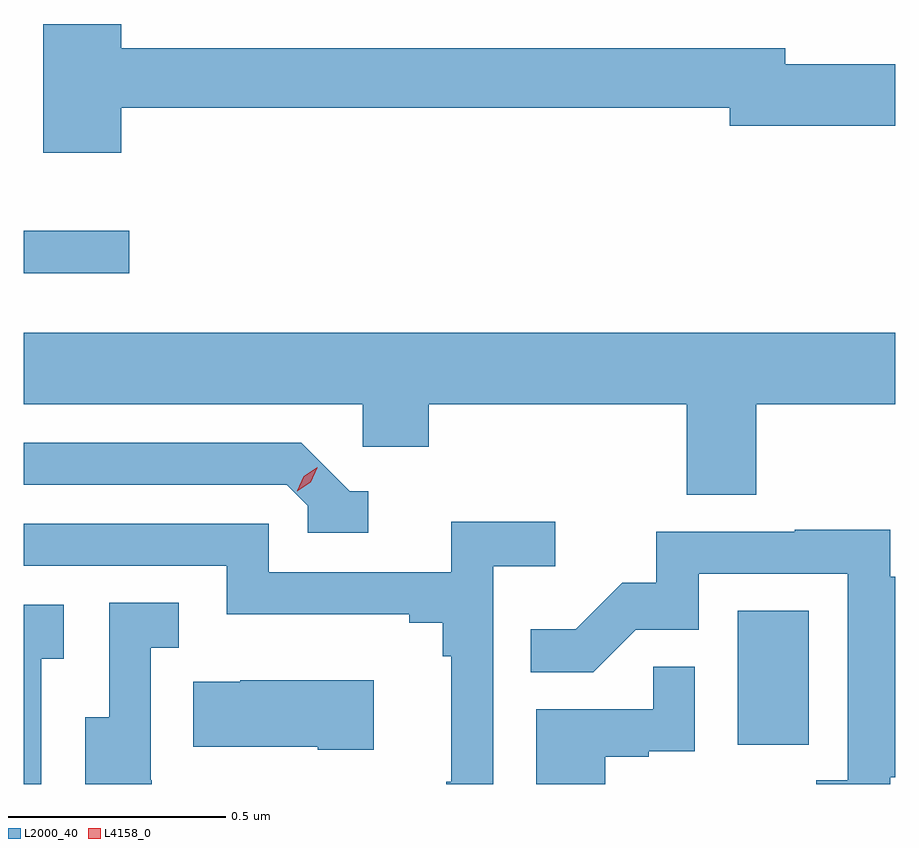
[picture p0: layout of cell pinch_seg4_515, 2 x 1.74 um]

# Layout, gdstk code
import gdstk
lib = gdstk.Library(unit=1e-6, precision=1e-09)
def R(c, l, rs):  # rectangles x0, y0, x1, y1
    for r in rs: c.add(gdstk.rectangle(r[:2], r[2:], *l))
def P(c, l, *ps):  # polygons
    for p in ps: c.add(gdstk.Polygon(p, *l))
L2000_40 = (2000, 40)
L4158_0 = (4158, 0)

pinch_seg4_515 = lib.new_cell('pinch_seg4_515')
R(pinch_seg4_515, L2000_40, [(991.646,758.742,991.81,759.049), (990.008,759.824,990.25,759.921)])
P(pinch_seg4_515, L2000_40, [(990.232,760.204),(991.628,760.204),(991.628,760.162),(992.008,760.162),(992.008,760.304),(991.756,760.304),(991.756,760.34),(990.232,760.34),(990.232,760.396),(990.053,760.396),(990.053,760.1),(990.232,760.1)],
  [(991.689,759.524),(992.008,759.524),(992.008,759.688),(990.008,759.688),(990.008,759.524),(990.786,759.524),(990.786,759.426),(990.938,759.426),(990.938,759.524),(991.529,759.524),(991.529,759.316),(991.689,759.316)],
  [(990.799,759.324),(990.756,759.324),(990.645,759.435),(990.008,759.435),(990.008,759.339),(990.612,759.339),(990.66,759.291),(990.66,759.228),(990.799,759.228)],
  [(991.086,759.152),(991.228,759.152),(991.228,759.254),(990.989,759.254),(990.989,759.138),(990.57,759.138),(990.57,759.249),(990.008,759.249),(990.008,759.153),(990.474,759.153),(990.474,759.041),(990.893,759.041),(990.893,759.022),(990.97,759.022),(990.97,758.945),(990.989,758.945),(990.989,758.657),(990.978,758.657),(990.978,758.652),(991.086,758.652)],
  [(991.997,758.668),(992.008,758.668),(992.008,759.128),(991.997,759.128),(991.997,759.236),(991.777,759.236),(991.777,759.231),(991.459,759.231),(991.459,759.114),(991.382,759.114),(991.275,759.007),(991.171,759.007),(991.171,758.908),(991.315,758.908),(991.413,759.006),(991.557,759.006),(991.557,759.135),(991.899,759.135),(991.899,758.661),(991.827,758.661),(991.827,758.652),(991.997,758.652)],
  [(990.302,758.661),(990.3,758.661),(990.3,758.965),(990.364,758.965),(990.364,759.068),(990.204,759.068),(990.204,758.805),(990.149,758.805),(990.149,758.652),(990.302,758.652)],
  [(990.048,758.939),(990.1,758.939),(990.1,759.063),(990.008,759.063),(990.008,758.652),(990.048,758.652)],
  [(991.342,758.715),(991.442,758.715),(991.442,758.727),(991.548,758.727),(991.548,758.921),(991.453,758.921),(991.453,758.823),(991.184,758.823),(991.184,758.652),(991.342,758.652)],
  [(990.811,758.89),(990.505,758.89),(990.505,758.887),(990.397,758.887),(990.397,758.738),(990.683,758.738),(990.683,758.731),(990.811,758.731)])
P(pinch_seg4_515, L4158_0, [(990.636,759.324),(990.636,759.325),(990.651,759.358),(990.681,759.379),(990.682,759.379),(990.682,759.378),(990.667,759.345),(990.636,759.324)])

lib.write_gds('pinch_seg4_515.gds')
